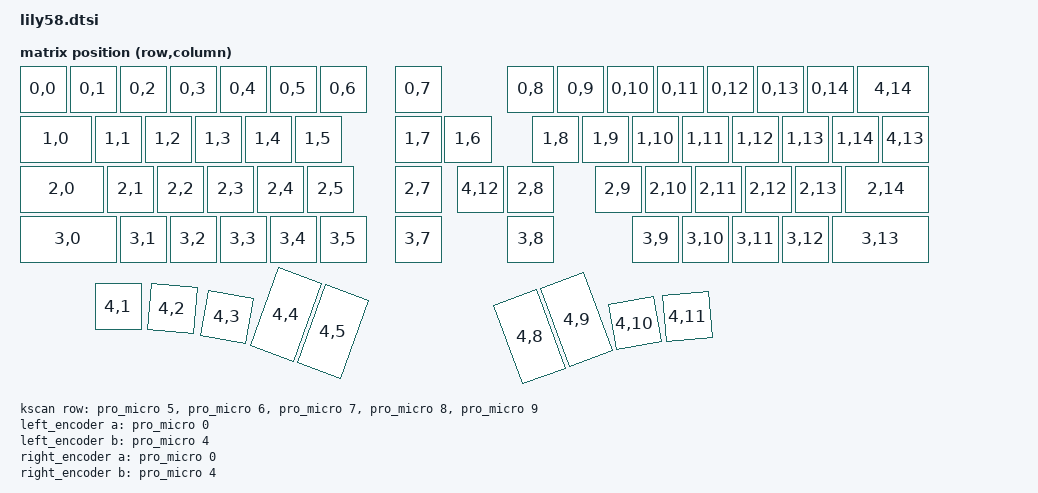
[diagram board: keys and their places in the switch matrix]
#include <physical_layouts.dtsi>
#include <dt-bindings/zmk/matrix_transform.h>

/ {
    chosen {
        zmk,physical-layout = &layout;
    };

    kscan: kscan {
        compatible = "zmk,kscan-gpio-matrix";
        diode-direction = "col2row";

        row-gpios = <&pro_micro 5 (GPIO_ACTIVE_HIGH | GPIO_PULL_DOWN)>,
                    <&pro_micro 6 (GPIO_ACTIVE_HIGH | GPIO_PULL_DOWN)>,
                    <&pro_micro 7 (GPIO_ACTIVE_HIGH | GPIO_PULL_DOWN)>,
                    <&pro_micro 8 (GPIO_ACTIVE_HIGH | GPIO_PULL_DOWN)>,
                    <&pro_micro 9 (GPIO_ACTIVE_HIGH | GPIO_PULL_DOWN)>;
    };

    left_encoder: encoder_left {
        compatible = "alps,ec11";
        steps = <24>;
        a-gpios = <&pro_micro 0 (GPIO_ACTIVE_HIGH | GPIO_PULL_UP)>;
        b-gpios = <&pro_micro 4 (GPIO_ACTIVE_HIGH | GPIO_PULL_UP)>;
        status = "disabled";
    };

    right_encoder: encoder_right {
        compatible = "alps,ec11";
        steps = <24>;
        a-gpios = <&pro_micro 0 (GPIO_ACTIVE_HIGH | GPIO_PULL_UP)>;
        b-gpios = <&pro_micro 4 (GPIO_ACTIVE_HIGH | GPIO_PULL_UP)>;
        status = "disabled";
    };

    sensors: sensors {
        compatible = "zmk,keymap-sensors";
        sensors = <&left_encoder &right_encoder>;
        triggers-per-rotation = <48>;
    };


    transform: matrix_transform {
        compatible = "zmk,matrix-transform";
        rows = <5>;
        columns = <15>;

        map = <
                RC(0, 0) RC(0, 1) RC(0, 2) RC(0, 3) RC(0, 4) RC(0, 5) RC(0, 6) RC(0, 7) RC(0, 8) RC(0, 9) RC(0, 10) RC(0, 11) RC(0, 12) RC(0, 13) RC(0, 14)
                RC(1, 0) RC(1, 1) RC(1, 2) RC(1, 3) RC(1, 4) RC(1, 5) RC(1, 6) RC(1, 7) RC(1, 8) RC(1, 9) RC(1, 10) RC(1, 11) RC(1, 12) RC(1, 13) RC(1, 14)
                RC(2, 0) RC(2, 1) RC(2, 2) RC(2, 3) RC(2, 4) RC(2, 5)          RC(2, 7) RC(2, 8) RC(2, 9) RC(2, 10) RC(2, 11) RC(2, 12) RC(2, 13) RC(2, 14) 
                RC(3, 0) RC(3, 1) RC(3, 2) RC(3, 3) RC(3, 4) RC(3, 5)          RC(3, 7) RC(3, 8) RC(3, 9) RC(3, 10) RC(3, 11) RC(3, 12) RC(3, 13)
                         RC(4, 1) RC(4, 2) RC(4, 3) RC(4, 4) RC(4, 5)                   RC(4, 8) RC(4, 9) RC(4, 10) RC(4, 11) RC(4, 12) RC(4, 13) RC(4, 14)
        >;
    };

    layout: layout {
        compatible = "zmk,physical-layout";
        display-name = "mtErgoSplit";
        transform = <&transform>;
        kscan = <&kscan>;

        keys  //                    w   h     x    y      rot    rx    ry
            = <&key_physical_attrs 100 100    0    0       0     0     0> /* esc */
            , <&key_physical_attrs 100 100  100    0       0     0     0> /* 1 */
            , <&key_physical_attrs 100 100  200    0       0     0     0> /* 2 */
            , <&key_physical_attrs 100 100  300    0       0     0     0> /* 3 */
            , <&key_physical_attrs 100 100  400    0       0     0     0> /* 4 */
            , <&key_physical_attrs 100 100  500    0       0     0     0> /* 5 */
            , <&key_physical_attrs 100 100  600    0       0     0     0> /* ~ */
            , <&key_physical_attrs 100 100  750    0       0     0     0> /* M1 */
            , <&key_physical_attrs 100 100  975    0       0     0     0> /* 6 */
            , <&key_physical_attrs 100 100 1075    0       0     0     0> /* 7 */
            , <&key_physical_attrs 100 100 1175    0       0     0     0> /* 8 */
            , <&key_physical_attrs 100 100 1275    0       0     0     0> /* 9 */
            , <&key_physical_attrs 100 100 1375    0       0     0     0> /* 0 */
            , <&key_physical_attrs 100 100 1475    0       0     0     0> /* - */
            , <&key_physical_attrs 100 100 1575    0       0     0     0> /* = */

            , <&key_physical_attrs 150 100    0  100       0     0     0> /* Tab */
            , <&key_physical_attrs 100 100  150  100       0     0     0> /* Q */
            , <&key_physical_attrs 100 100  250  100       0     0     0> /* W */
            , <&key_physical_attrs 100 100  350  100       0     0     0> /* E */
            , <&key_physical_attrs 100 100  450  100       0     0     0> /* R */
            , <&key_physical_attrs 100 100  550  100       0     0     0> /* T */
            , <&key_physical_attrs 100 100  850  100       0     0     0> /* Left encoder push */
            , <&key_physical_attrs 100 100  750  100       0     0     0> /* M2 */
            , <&key_physical_attrs 100 100 1025  100       0     0     0> /* Y */
            , <&key_physical_attrs 100 100 1125  100       0     0     0> /* U */
            , <&key_physical_attrs 100 100 1225  100       0     0     0> /* I */
            , <&key_physical_attrs 100 100 1325  100       0     0     0> /* O */
            , <&key_physical_attrs 100 100 1425  100       0     0     0> /* P */
            , <&key_physical_attrs 100 100 1525  100       0     0     0> /* Open bkt */
            , <&key_physical_attrs 100 100 1625  100       0     0     0> /* Close bkt */

            , <&key_physical_attrs 175 100    0  200       0     0     0> /* Capslock */
            , <&key_physical_attrs 100 100  175  200       0     0     0> /* A */
            , <&key_physical_attrs 100 100  275  200       0     0     0> /* S */
            , <&key_physical_attrs 100 100  375  200       0     0     0> /* D */
            , <&key_physical_attrs 100 100  475  200       0     0     0> /* F */
            , <&key_physical_attrs 100 100  575  200       0     0     0> /* G */
            , <&key_physical_attrs 100 100  750  200       0     0     0> /* M3 */      
            , <&key_physical_attrs 100 100  975  200       0     0     0> /* H */
            , <&key_physical_attrs 100 100 1150  200       0     0     0> /* J */
            , <&key_physical_attrs 100 100 1250  200       0     0     0> /* K */
            , <&key_physical_attrs 100 100 1350  200       0     0     0> /* L */
            , <&key_physical_attrs 100 100 1450  200       0     0     0> /* ; */
            , <&key_physical_attrs 100 100 1550  200       0     0     0> /* ' */
            , <&key_physical_attrs 175 100 1650  200       0     0     0> /* Return */

            , <&key_physical_attrs 200 100    0  300       0     0     0> /* Shift left */
            , <&key_physical_attrs 100 100  200  300       0     0     0> /* Z */
            , <&key_physical_attrs 100 100  300  300       0     0     0> /* X */
            , <&key_physical_attrs 100 100  400  300       0     0     0> /* C */
            , <&key_physical_attrs 100 100  500  300       0     0     0> /* V */
            , <&key_physical_attrs 100 100  600  300       0     0     0> /* B */
            , <&key_physical_attrs 100 100  750  300       0     0     0> /* M4 */
            , <&key_physical_attrs 100 100  975  300       0     0     0> /* N */
            , <&key_physical_attrs 100 100 1225  300       0     0     0> /* M */
            , <&key_physical_attrs 100 100 1325  300       0     0     0> /* , */
            , <&key_physical_attrs 100 100 1425  300       0     0     0> /* . */
            , <&key_physical_attrs 100 100 1525  300       0     0     0> /* Forward slash */
            , <&key_physical_attrs 200 100 1625  300       0     0     0> /* Right shift */

            , <&key_physical_attrs 100 100  150  435       0    50     0> /* Left ctrl */
            , <&key_physical_attrs 100 100  300  410     500     0     0> /* Left opt */
            , <&key_physical_attrs 100 100  450  375    1000     0     0> /* Left cmd */
            , <&key_physical_attrs 100 175  625  200    2000     0     0> /* Left space */
            , <&key_physical_attrs 100 175  725  200    2000     0     0> /* Raise right */
            , <&key_physical_attrs 100 175  725  775 (-2000)     0     0> /* Raise left */
            , <&key_physical_attrs 100 175  825  775 (-2000)     0     0> /* Right space */
            , <&key_physical_attrs 100 100 1075  675 (-1000)     0     0> /* Right cmd */
            , <&key_physical_attrs 100 100 1240  570  (-500)     0     0> /* Right opt */
            , <&key_physical_attrs 100 100  875  200       0     0     0> /* Right encoder push */
            , <&key_physical_attrs 100 100 1725  100       0     0     0> /* Backslash */
            , <&key_physical_attrs 150 100 1675    0       0     0     0> /* Bksp_Del */
            ;
    };
}; 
